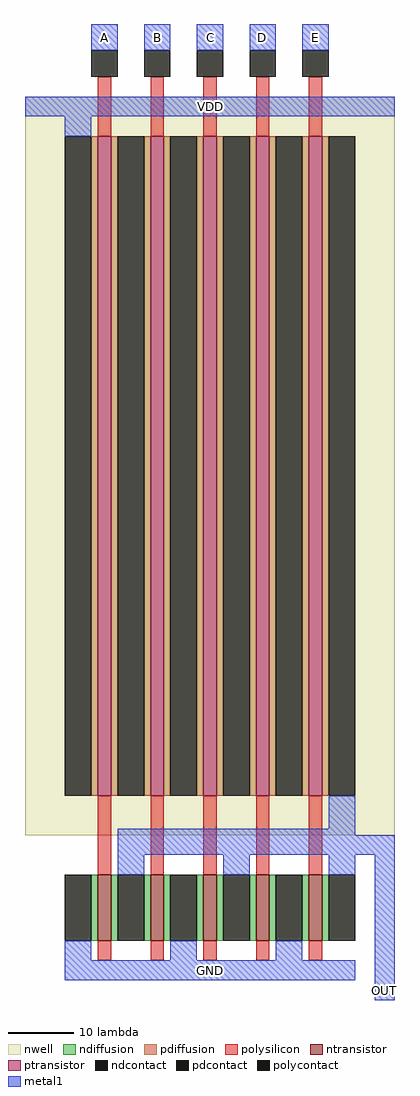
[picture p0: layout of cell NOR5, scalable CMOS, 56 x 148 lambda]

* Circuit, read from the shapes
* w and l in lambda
.subckt NOR5 A B C D E GND OUT VDD
M1 OUT A GND VSUBS nfet w=10 l=2
M2 GND B OUT VSUBS nfet w=10 l=2
M3 OUT C GND VSUBS nfet w=10 l=2
M4 GND D OUT VSUBS nfet w=10 l=2
M5 OUT E GND VSUBS nfet w=10 l=2
M6 n1 A VDD n2 pfet w=100 l=2
M7 n3 B n1 n2 pfet w=100 l=2
M8 n4 C n3 n2 pfet w=100 l=2
M9 n5 D n4 n2 pfet w=100 l=2
M10 OUT E n5 n2 pfet w=100 l=2
.ends

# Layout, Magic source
magic
tech scmos
<< nwell >>
rect -6 16 50 128
<< ntransistor >>
rect 5 0 7 10
rect 13 0 15 10
rect 21 0 23 10
rect 29 0 31 10
rect 37 0 39 10
<< ptransistor >>
rect 5 22 7 122
rect 13 22 15 122
rect 21 22 23 122
rect 29 22 31 122
rect 37 22 39 122
<< ndiffusion >>
rect 4 0 5 10
rect 7 0 8 10
rect 12 0 13 10
rect 15 0 16 10
rect 20 0 21 10
rect 23 0 24 10
rect 28 0 29 10
rect 31 0 32 10
rect 36 0 37 10
rect 39 0 40 10
<< pdiffusion >>
rect 4 22 5 122
rect 7 22 8 122
rect 12 22 13 122
rect 15 22 16 122
rect 20 22 21 122
rect 23 22 24 122
rect 28 22 29 122
rect 31 22 32 122
rect 36 22 37 122
rect 39 22 40 122
<< ndcontact >>
rect 0 0 4 10
rect 8 0 12 10
rect 16 0 20 10
rect 24 0 28 10
rect 32 0 36 10
rect 40 0 44 10
<< pdcontact >>
rect 0 22 4 122
rect 8 22 12 122
rect 16 22 20 122
rect 24 22 28 122
rect 32 22 36 122
rect 40 22 44 122
<< polysilicon >>
rect 5 122 7 131
rect 13 122 15 131
rect 21 122 23 131
rect 29 122 31 131
rect 37 122 39 131
rect 5 10 7 22
rect 13 10 15 22
rect 21 10 23 22
rect 29 10 31 22
rect 37 10 39 22
rect 5 -3 7 0
rect 13 -3 15 0
rect 21 -3 23 0
rect 29 -3 31 0
rect 37 -3 39 0
<< polycontact >>
rect 4 131 8 135
rect 12 131 16 135
rect 20 131 24 135
rect 28 131 32 135
rect 36 131 40 135
<< metal1 >>
rect 4 135 8 139
rect 12 135 16 139
rect 20 135 24 139
rect 28 135 32 139
rect 36 135 40 139
rect -6 125 50 128
rect 0 122 4 125
rect 40 17 44 22
rect 8 16 44 17
rect 8 13 50 16
rect 8 10 12 13
rect 24 10 28 13
rect 40 10 44 13
rect 0 -3 4 0
rect 16 -3 20 0
rect 32 -3 36 0
rect 0 -6 44 -3
rect 47 -9 50 13
<< labels >>
rlabel metal1 -6 125 50 128 1 VDD
rlabel metal1 0 -6 44 -3 1 GND
rlabel metal1 47 -9 50 -6 8 OUT
rlabel metal1 4 135 8 139 5 A
rlabel metal1 12 135 16 139 5 B
rlabel metal1 20 135 24 139 5 C
rlabel metal1 28 135 32 139 5 D
rlabel metal1 36 135 40 139 5 E
<< end >>
